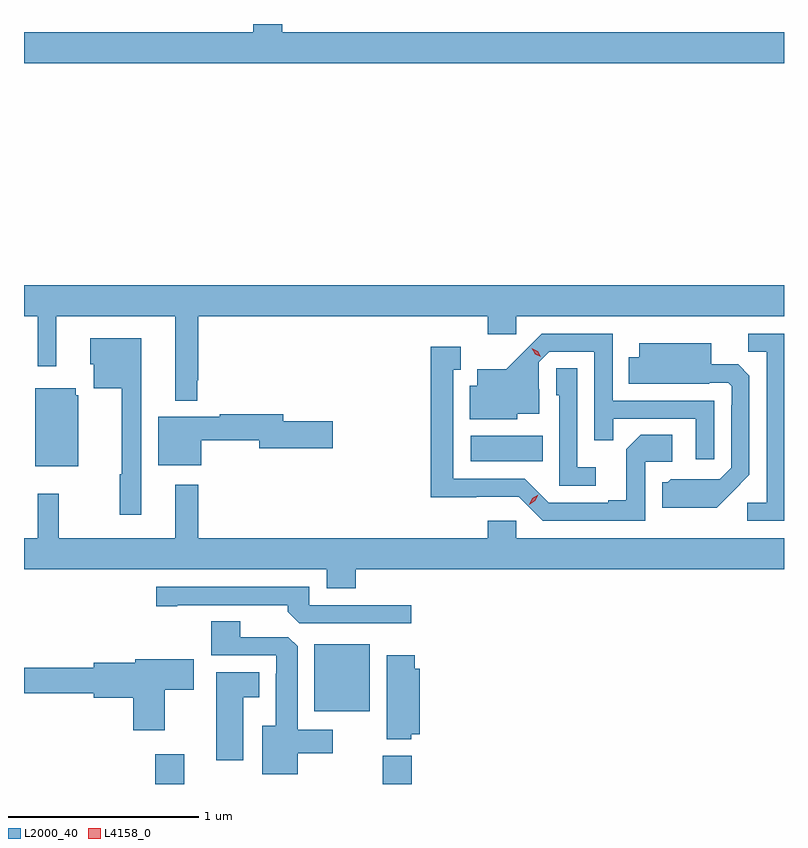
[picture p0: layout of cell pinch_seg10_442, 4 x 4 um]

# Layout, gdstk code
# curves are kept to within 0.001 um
import gdstk
lib = gdstk.Library(unit=1e-6, precision=1e-09)
def R(c, l, rs):  # rectangles x0, y0, x1, y1
    for r in rs: c.add(gdstk.rectangle(r[:2], r[2:], *l))
def P(c, l, *ps):  # polygons
    for p in ps: c.add(gdstk.Polygon(p, *l))
L2000_40 = (2000, 40)
L4158_0 = (4158, 0)

pinch_seg10_442 = lib.new_cell('pinch_seg10_442')
R(pinch_seg10_442, L2000_40, [(323.75,1292.527,323.902,1292.683), (324.947,1292.527,325.1,1292.677), (324.587,1292.909,324.88,1293.262), (325.41,1294.226,325.79,1294.36)])
P(pinch_seg10_442, L2000_40, [(327.059,1296.484),(324.419,1296.484),(324.419,1296.527),(324.266,1296.527),(324.266,1296.484),(323.059,1296.484),(323.059,1296.32),(327.059,1296.32)],
  [(323.97,1294.651),(323.977,1294.651),(323.977,1294.988),(325.499,1294.988),(325.499,1294.893),(325.65,1294.893),(325.65,1294.988),(327.059,1294.988),(327.059,1295.152),(323.059,1295.152),(323.059,1294.988),(323.131,1294.988),(323.131,1294.725),(323.23,1294.725),(323.23,1294.988),(323.855,1294.988),(323.855,1294.544),(323.97,1294.544)],
  [(327.059,1294.896),(326.872,1294.896),(326.872,1294.801),(326.967,1294.801),(326.967,1294.008),(326.865,1294.008),(326.865,1293.912),(327.059,1293.912)],
  [(326.691,1294.545),(326.157,1294.545),(326.157,1294.896),(325.784,1294.896),(325.597,1294.711),(325.445,1294.711),(325.445,1294.624),(325.406,1294.624),(325.406,1294.448),(325.656,1294.448),(325.656,1294.475),(325.771,1294.475),(325.771,1294.604),(325.767,1294.604),(325.767,1294.746),(325.824,1294.803),(326.061,1294.803),(326.061,1294.336),(326.159,1294.336),(326.159,1294.449),(326.595,1294.449),(326.595,1294.236),(326.691,1294.236)],
  [(323.677,1294.873),(323.408,1294.873),(323.408,1294.737),(323.426,1294.737),(323.426,1294.61),(323.573,1294.61),(323.573,1294.157),(323.563,1294.157),(323.563,1293.945),(323.677,1293.945)],
  [(326.785,1294.061),(326.877,1294.154),(326.877,1294.676),(326.818,1294.735),(326.677,1294.735),(326.677,1294.846),(326.297,1294.846),(326.297,1294.774),(326.242,1294.774),(326.242,1294.634),(326.666,1294.634),(326.666,1294.638),(326.766,1294.638),(326.784,1294.62),(326.784,1294.52),(326.781,1294.52),(326.781,1294.191),(326.721,1294.131),(326.464,1294.132),(326.448,1294.116),(326.417,1294.116),(326.417,1293.98),(326.705,1293.98)],
  [(326.328,1294.224),(326.47,1294.224),(326.47,1294.364),(326.305,1294.364),(326.229,1294.288),(326.229,1294.021),(326.135,1294.021),(326.135,1294.008),(325.821,1294.008),(325.695,1294.134),(325.318,1294.134),(325.318,1294.707),(325.357,1294.707),(325.357,1294.828),(325.2,1294.828),(325.2,1294.037),(325.662,1294.038),(325.788,1293.912),(326.328,1293.912)],
  [(326.068,1294.195),(325.971,1294.195),(325.971,1294.715),(325.86,1294.715),(325.86,1294.572),(325.875,1294.572),(325.875,1294.098),(326.068,1294.098)],
  [(323.344,1294.572),(323.332,1294.572),(323.332,1294.609),(323.117,1294.609),(323.117,1294.199),(323.344,1294.199)],
  [(323.992,1294.336),(324.296,1294.336),(324.296,1294.294),(324.685,1294.294),(324.685,1294.436),(324.424,1294.436),(324.424,1294.472),(324.088,1294.472),(324.088,1294.459),(323.765,1294.459),(323.765,1294.205),(323.992,1294.205)],
  [(324.806,1293.656),(327.059,1293.656),(327.059,1293.82),(325.65,1293.82),(325.65,1293.913),(325.499,1293.913),(325.499,1293.82),(323.977,1293.82),(323.977,1294.102),(323.855,1294.102),(323.855,1293.82),(323.242,1293.82),(323.242,1294.054),(323.132,1294.054),(323.132,1293.82),(323.059,1293.82),(323.059,1293.656),(324.653,1293.656),(324.653,1293.557),(324.806,1293.557)],
  [(325.096,1293.468),(324.561,1293.468),(324.561,1293.564),(323.754,1293.564),(323.754,1293.463),(323.866,1293.463),(323.866,1293.468),(324.446,1293.468),(324.446,1293.434),(324.507,1293.372),(325.096,1293.372)],
  [(324.499,1292.69),(324.685,1292.69),(324.685,1292.812),(324.499,1292.812),(324.499,1293.251),(324.45,1293.3),(324.196,1293.3),(324.196,1293.383),(324.044,1293.383),(324.044,1293.204),(324.387,1293.204),(324.387,1293.107),(324.383,1293.107),(324.383,1292.833),(324.314,1292.833),(324.314,1292.579),(324.499,1292.579)],
  [(325.098,1292.789),(325.141,1292.789),(325.141,1293.133),(325.115,1293.133),(325.115,1293.205),(324.968,1293.205),(324.968,1292.762),(325.098,1292.762)],
  [(323.8,1293.022),(323.953,1293.022),(323.953,1293.184),(323.645,1293.184),(323.645,1293.164),(323.426,1293.164),(323.426,1293.14),(323.059,1293.14),(323.059,1293.004),(323.426,1293.004),(323.426,1292.981),(323.633,1292.981),(323.633,1292.811),(323.8,1292.811)],
  [(324.214,1292.984),(324.298,1292.984),(324.298,1293.115),(324.071,1293.115),(324.071,1292.652),(324.214,1292.652)])
P(pinch_seg10_442, L4158_0, [(325.78,1294.776),(325.749,1294.79),(325.732,1294.82),(325.732,1294.82),(325.732,1294.82),(325.763,1294.805),(325.78,1294.776),(325.78,1294.776)],
  [(325.717,1293.997),(325.717,1293.998),(325.734,1294.03),(325.766,1294.05),(325.766,1294.05),(325.766,1294.049),(325.749,1294.017),(325.717,1293.997)])

lib.write_gds('pinch_seg10_442.gds')
